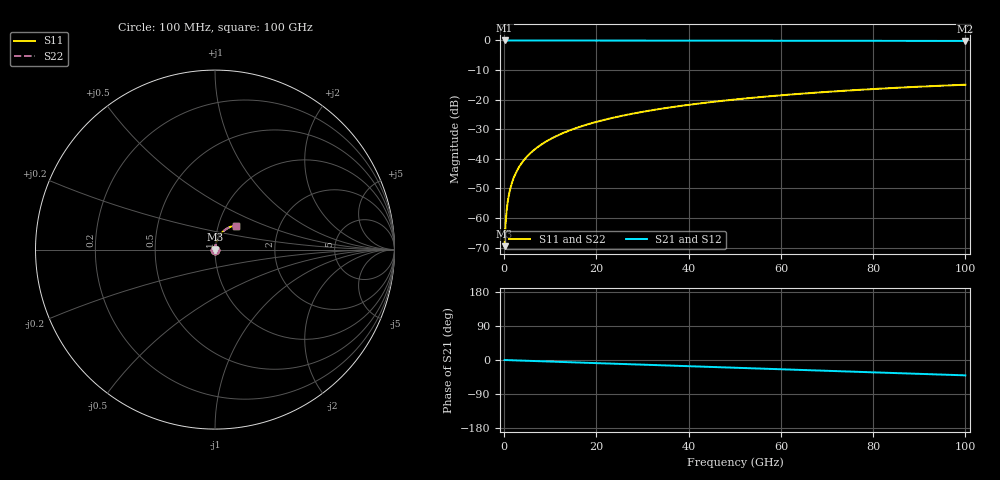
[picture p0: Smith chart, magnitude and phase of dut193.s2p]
! Touchstone file exported from HFSS 2026.1.0
!  File:  C:/ffzhzh/LocalFiles/Ansys_Project_Files/temp_train_TSV_193_1783507314_55944.aedt
!  Generated:  06:43:17 PM Jul  8, 2026
!  Design:  TSV
!  Project:  temp_train_TSV_193_1783507314_55944
! Variables:
!  h_bsmrdl = 2um
!  h_ox = 20um
!  h_rdl = 5um
!  h_sub = 78um
!  h_tmrdl = 5um
!  h_tsv = 78um
!  h_via = 3um
!  l_bsmrdl = 300um
!  l_sub = 413.96um
!  l_tmrdl = 200um
!  m_sub = 200um
!  pitch = 41.91um
!  r_tsv = 6.98um
!  s_tmrdl = 10um
!  w_bsmrdl = 18um
!  w_sub = 500um
!  w_tmrdl = 12um
!  x_tsv_center1 = 206um
!  x_tsv_center2 = 524um
!  x_tsv_center3 = 736um
!  x_tsv_center4 = 1054um
!  x_tsv_center5 = 1266um
!  x_tsv_center6 = 1584um
# GHz S MA R 50.000000
! Terminal data exported
! Port[1] = TSV1_1_T1
! Port[2] = TSV1_1_T2
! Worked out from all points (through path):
!   1000 points, 100 MHz to 100 GHz, reference 50 ohm
!   highest |S21| = 0.00 dB at 100 MHz (marker M1); lowest = -0.2 dB at 100 GHz (marker M2)
!   group delay of S21, straight-line fit = 1.13 ps
!   lowest |S11| = -69.5 dB at 100 MHz (marker M3), VSWR 1.00, Z = 50 + j0.0255 ohm
!   |S11| at or under -10 dB: start of sweep to end of sweep
!   |S22| runs from -69.5 to -15.0 dB; largest |S21 - S12| = 3.5e-15
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0.1  0.0003357 49.3  0.9998 -0.0  0.9998 -0.0  0.0003357 49.3
! Gamma 0 0 0 0
! Port Impedance 50 0 50 0
0.4  0.001015 74.7  0.9997 -0.2  0.9997 -0.2  0.001015 74.7
0.7  0.001701 79.3  0.9997 -0.3  0.9997 -0.3  0.001701 79.3
0.8  0.00193 80.1  0.9997 -0.3  0.9997 -0.3  0.00193 80.1
1.1  0.002612 81.6  0.9996 -0.5  0.9996 -0.5  0.002612 81.6
1.4  0.003289 82.4  0.9996 -0.6  0.9996 -0.6  0.003289 82.4
1.9  0.004401 83.0  0.9995 -0.8  0.9995 -0.8  0.004401 83.0
2.4  0.005495 83.3  0.9994 -1.0  0.9994 -1.0  0.005495 83.3
3  0.006789 83.5  0.9994 -1.3  0.9994 -1.3  0.006789 83.5
3.8  0.008496 83.6  0.9993 -1.6  0.9993 -1.6  0.008496 83.6
4.8  0.01061 83.7  0.9992 -2.0  0.9992 -2.0  0.01061 83.7
6  0.01315 83.7  0.999 -2.5  0.999 -2.5  0.01315 83.7
8.8  0.01903 83.1  0.9988 -3.7  0.9988 -3.7  0.01903 83.1
12.4  0.02652 82.1  0.9984 -5.1  0.9984 -5.1  0.02652 82.1
16.8  0.03559 80.6  0.9979 -6.9  0.9979 -6.9  0.03559 80.6
24.2  0.05066 78.0  0.9969 -10.0  0.9969 -10.0  0.05066 78.0
33.4  0.069 74.5  0.9955 -13.7  0.9955 -13.7  0.069 74.5
41.2  0.08411 71.5  0.9941 -16.9  0.9941 -16.9  0.08411 71.5
50.1  0.1008 68.1  0.9924 -20.5  0.9924 -20.5  0.1008 68.1
66.7  0.13 61.5  0.9886 -27.2  0.9886 -27.2  0.13 61.6
83.4  0.1563 55.0  0.9845 -33.9  0.9845 -33.9  0.1563 55.0
100  0.1788 48.5  0.9804 -40.5  0.9804 -40.5  0.1788 48.5
